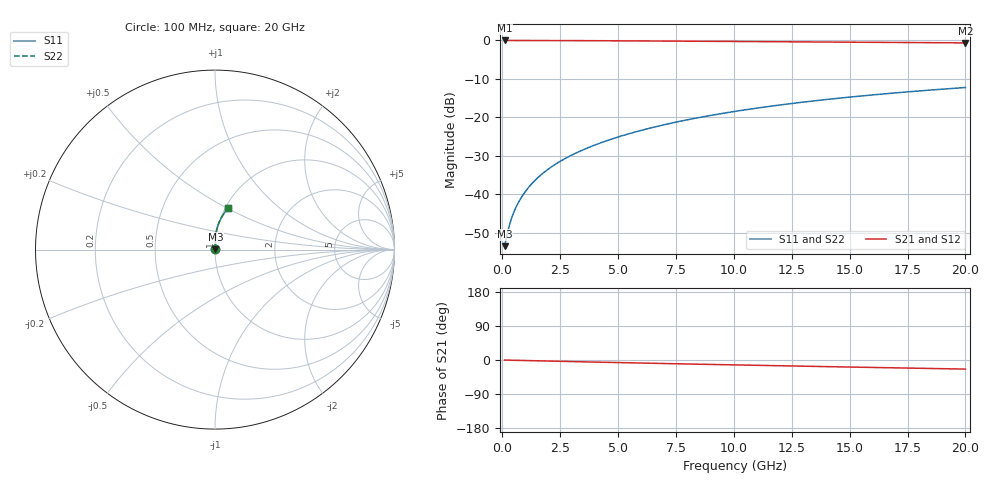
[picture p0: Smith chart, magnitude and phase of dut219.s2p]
! Touchstone file exported from HFSS 2024.1.0
!  File:  C:/UserFiles/LocalFiles/RDL_TSV_Batchsim/temp_RDL_top_219_1778687669.aedt
!  Generated:  11:56:56 PM May 13, 2026
!  Design:  RDL_top
!  Project:  temp_RDL_top_219_1778687669
!  Setup:  Setup1
!  Solution:  Sweep
! Variables:
!  dtsv = 10.80580581um
!  hbump = 3um
!  htsv = 99.17um
!  ldown = 100um
!  lrdl = 306.42um
!  p = 40
!  p1 = 52.37um
!  rhole = 1um
!  t = 450um
!  tdown = 3.915915916um
!  trdl = 3.02um
!  wdown = 15.38538539um
!  wrdl = 24.16um
# GHz S MA R 50.000000
! Terminal data exported
! Port[1] = Box2_T1
! Port[2] = Box2_T2
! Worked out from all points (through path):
!   200 points, 100 MHz to 20 GHz, reference 50 ohm
!   highest |S21| = -0.02 dB at 100 MHz (marker M1); lowest = -0.6 dB at 20 GHz (marker M2)
!   group delay of S21, straight-line fit = 3.3 ps
!   lowest |S11| = -53.5 dB at 100 MHz (marker M3), VSWR 1.00, Z = 50.2 + j0.117 ohm
!   |S11| at or under -10 dB: start of sweep to end of sweep
!   |S22| runs from -53.5 to -12.3 dB; largest |S21 - S12| = 7e-15
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0.1  0.002107 33.6  0.9982 -0.1  0.9982 -0.1  0.002107 33.6
! Gamma 0 0 0 0
! Port Impedance 50 0 50 0
0.2  0.002936 51.6  0.9982 -0.3  0.9982 -0.3  0.002936 51.6
0.3  0.003888 60.7  0.998 -0.4  0.998 -0.4  0.003888 60.7
0.4  0.004866 66.1  0.9979 -0.6  0.9979 -0.6  0.004866 66.1
0.5  0.005851 69.8  0.9978 -0.7  0.9978 -0.7  0.005851 69.8
0.6  0.006841 72.5  0.9977 -0.9  0.9977 -0.9  0.006841 72.5
0.8  0.008842 76.3  0.9975 -1.1  0.9975 -1.1  0.008842 76.3
1.1  0.01189 79.9  0.9972 -1.6  0.9972 -1.6  0.01189 79.9
1.3  0.01396 81.5  0.997 -1.8  0.997 -1.8  0.01396 81.4
1.6  0.01709 83.2  0.9966 -2.2  0.9966 -2.2  0.01709 83.2
2.1  0.0224 85.1  0.9957 -2.9  0.9957 -2.9  0.0224 85.1
2.7  0.02892 86.5  0.9945 -3.8  0.9945 -3.8  0.02892 86.4
3.5  0.03787 87.5  0.9924 -4.8  0.9924 -4.8  0.03787 87.5
4.2  0.04593 87.9  0.9903 -5.8  0.9903 -5.8  0.04593 87.9
5  0.05541 88.0  0.9877 -6.8  0.9877 -6.8  0.05541 88.0
5.9  0.06637 87.9  0.9845 -8.0  0.9845 -8.0  0.06637 87.9
6.8  0.07759 87.4  0.9811 -9.1  0.9811 -9.1  0.07759 87.4
8.4  0.098 86.2  0.9749 -11.0  0.9749 -11.0  0.09799 86.1
10.1  0.12 84.4  0.9682 -13.0  0.9682 -13.0  0.12 84.4
13.4  0.1627 80.5  0.9551 -16.8  0.9551 -16.8  0.1627 80.5
16.7  0.2042 76.4  0.942 -20.4  0.942 -20.4  0.2042 76.4
20  0.244 72.3  0.9287 -24.0  0.9287 -24.0  0.2439 72.3
